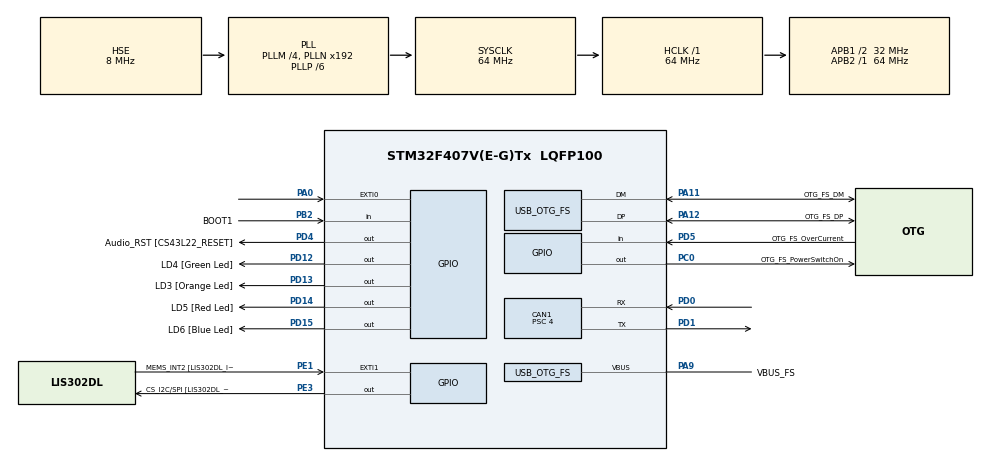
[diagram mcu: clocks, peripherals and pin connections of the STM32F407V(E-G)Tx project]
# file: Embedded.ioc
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CAN1.BS1=CAN_BS1_13TQ
CAN1.BS2=CAN_BS2_2TQ
CAN1.CalculateTimeQuantum=125.0
CAN1.Prescaler=4
Mcu.Family=STM32F4
Mcu.Name=STM32F407V(E-G)Tx
Mcu.Package=LQFP100
NVIC.CAN1_RX0_IRQn=true\:0\:0\:false\:false\:true\:true\:true
NVIC.CAN1_TX_IRQn=true\:0\:0\:false\:false\:true\:true\:true
NVIC.EXTI0_IRQn=true\:0\:0\:false\:false\:true\:true\:true
NVIC.OTG_FS_IRQn=true\:0\:0\:false\:false\:true\:true\:true
NVIC.PriorityGroup=NVIC_PRIORITYGROUP_0
PA0-WKUP.Signal=GPXTI0
PA10.GPIO_Label=OTG_FS_ID
PA10.GPIO_Mode=GPIO_MODE_AF_PP
PA10.GPIO_PuPd=GPIO_NOPULL
PA10.GPIO_Speed=GPIO_SPEED_FREQ_LOW
PA10.Signal=USB_OTG_FS_ID
PA11.GPIO_Label=OTG_FS_DM
PA11.GPIO_Mode=GPIO_MODE_AF_PP
PA11.GPIO_PuPd=GPIO_NOPULL
PA11.GPIO_Speed=GPIO_SPEED_FREQ_LOW
PA11.Mode=Device_Only
PA11.Signal=USB_OTG_FS_DM
PA12.GPIO_Label=OTG_FS_DP
PA12.GPIO_Mode=GPIO_MODE_AF_PP
PA12.GPIO_PuPd=GPIO_NOPULL
PA12.GPIO_Speed=GPIO_SPEED_FREQ_LOW
PA12.Mode=Device_Only
PA12.Signal=USB_OTG_FS_DP
PA13.GPIO_Label=SWDIO
PA13.Mode=Serial_Wire
PA13.Signal=SYS_JTMS-SWDIO
PA14.GPIO_Label=SWCLK
PA14.Mode=Serial_Wire
PA14.Signal=SYS_JTCK-SWCLK
PA4.GPIO_Label=I2S3_WS [CS43L22_LRCK]
PA4.GPIO_Mode=GPIO_MODE_AF_PP
PA4.GPIO_PuPd=GPIO_NOPULL
PA4.GPIO_Speed=GPIO_SPEED_FREQ_LOW
PA4.Signal=I2S3_WS
PA5.GPIO_Label=SPI1_SCK [LIS302DL_SCL/SPC]
PA5.GPIO_Mode=GPIO_MODE_AF_PP
PA5.GPIO_PuPd=GPIO_NOPULL
PA5.GPIO_Speed=GPIO_SPEED_FREQ_LOW
PA5.Signal=SPI1_SCK
PA6.GPIO_Label=SPI1_MISO [LIS302DL_SDO]
PA6.GPIO_Mode=GPIO_MODE_AF_PP
PA6.GPIO_PuPd=GPIO_NOPULL
PA6.GPIO_Speed=GPIO_SPEED_FREQ_LOW
PA6.Signal=SPI1_MISO
PA7.GPIO_Label=SPI1_MOSI [LIS302DL_SDA/SDI/SDO]
PA7.GPIO_Mode=GPIO_MODE_AF_PP
PA7.GPIO_PuPd=GPIO_NOPULL
PA7.GPIO_Speed=GPIO_SPEED_FREQ_LOW
PA7.Signal=SPI1_MOSI
PA9.GPIO_Label=VBUS_FS
PA9.GPIO_Mode=GPIO_MODE_INPUT
PA9.GPIO_PuPd=GPIO_NOPULL
PA9.Mode=Activate_VBUS
PA9.Signal=USB_OTG_FS_VBUS
PB10.GPIO_Label=CLK_IN [MP45DT02_CLK]
PB10.GPIO_Mode=GPIO_MODE_AF_PP
PB10.GPIO_PuPd=GPIO_NOPULL
PB10.GPIO_Speed=GPIO_SPEED_FREQ_LOW
PB10.Signal=I2S2_CK
PB2.GPIO_Label=BOOT1
PB2.GPIO_Mode=GPIO_MODE_INPUT
PB2.GPIO_PuPd=GPIO_NOPULL
PB2.Signal=GPIO_Input
PB3.GPIO_Label=SWO
PB3.Signal=SYS_JTDO-SWO
PB6.GPIO_Label=Audio_SCL [CS43L22_SCL]
PB6.GPIO_Mode=GPIO_MODE_AF_OD
PB6.GPIO_PuPd=GPIO_NOPULL
PB6.GPIO_Speed=GPIO_SPEED_FREQ_LOW
PB6.Signal=I2C1_SCL
PB9.GPIO_Label=Audio_SDA [CS43L22_SDA]
PB9.GPIO_Mode=GPIO_MODE_AF_OD
PB9.GPIO_PuPd=GPIO_NOPULL
PB9.GPIO_Speed=GPIO_SPEED_FREQ_LOW
PB9.Signal=I2C1_SDA
PC0.GPIO_Label=OTG_FS_PowerSwitchOn
PC0.GPIO_PuPd=GPIO_NOPULL
PC0.GPIO_Speed=GPIO_SPEED_FREQ_LOW
PC0.PinState=GPIO_PIN_SET
PC0.Signal=GPIO_Output
PC10.GPIO_Label=I2S3_SCK [CS43L22_SCLK]
PC10.GPIO_Mode=GPIO_MODE_AF_PP
PC10.GPIO_PuPd=GPIO_NOPULL
PC10.GPIO_Speed=GPIO_SPEED_FREQ_LOW
PC10.Signal=I2S3_CK
PC12.GPIO_Label=I2S3_SD [CS43L22_SDIN]
PC12.GPIO_Mode=GPIO_MODE_AF_PP
PC12.GPIO_PuPd=GPIO_NOPULL
PC12.GPIO_Speed=GPIO_SPEED_FREQ_LOW
PC12.Signal=I2S3_SD
PC14-OSC32_IN.GPIO_Label=PC14-OSC32_IN
PC14-OSC32_IN.Mode=LSE-External-Oscillator
PC14-OSC32_IN.Signal=RCC_OSC32_IN
PC15-OSC32_OUT.GPIO_Label=PC15-OSC32_OUT
PC15-OSC32_OUT.Mode=LSE-External-Oscillator
PC15-OSC32_OUT.Signal=RCC_OSC32_OUT
PC3.GPIO_Label=PDM_OUT [MP45DT02_DOUT]
PC3.GPIO_Mode=GPIO_MODE_AF_PP
PC3.GPIO_PuPd=GPIO_NOPULL
PC3.GPIO_Speed=GPIO_SPEED_FREQ_LOW
PC3.Signal=I2S2_SD
PC7.GPIO_Label=I2S3_MCK [CS43L22_MCLK]
PC7.GPIO_Mode=GPIO_MODE_AF_PP
PC7.GPIO_PuPd=GPIO_NOPULL
PC7.GPIO_Speed=GPIO_SPEED_FREQ_LOW
PC7.Signal=I2S3_MCK
PD0.Mode=Master
PD0.Signal=CAN1_RX
PD1.Mode=Master
PD1.Signal=CAN1_TX
PD12.GPIO_Label=LD4 [Green Led]
PD12.GPIO_PuPd=GPIO_NOPULL
PD12.GPIO_Speed=GPIO_SPEED_FREQ_LOW
PD12.Signal=GPIO_Output
PD13.GPIO_Label=LD3 [Orange Led]
PD13.GPIO_PuPd=GPIO_NOPULL
PD13.GPIO_Speed=GPIO_SPEED_FREQ_LOW
PD13.Signal=GPIO_Output
PD14.GPIO_Label=LD5 [Red Led]
PD14.GPIO_PuPd=GPIO_NOPULL
PD14.GPIO_Speed=GPIO_SPEED_FREQ_LOW
PD14.Signal=GPIO_Output
PD15.GPIO_Label=LD6 [Blue Led]
PD15.GPIO_PuPd=GPIO_NOPULL
PD15.GPIO_Speed=GPIO_SPEED_FREQ_LOW
PD15.Signal=GPIO_Output
PD4.GPIO_Label=Audio_RST [CS43L22_RESET]
PD4.GPIO_PuPd=GPIO_NOPULL
PD4.GPIO_Speed=GPIO_SPEED_FREQ_LOW
PD4.Signal=GPIO_Output
PD5.GPIO_Label=OTG_FS_OverCurrent
PD5.GPIO_Mode=GPIO_MODE_INPUT
PD5.GPIO_PuPd=GPIO_NOPULL
PD5.Signal=GPIO_Input
PE1.GPIO_Label=MEMS_INT2 [LIS302DL_INT2]
PE1.GPIO_ModeDefaultEXTI=GPIO_MODE_EVT_RISING
PE1.GPIO_PuPd=GPIO_NOPULL
PE1.Signal=GPXTI1
PE3.GPIO_Label=CS_I2C/SPI [LIS302DL_CS_I2C/SPI]
PE3.GPIO_PuPd=GPIO_NOPULL
PE3.GPIO_Speed=GPIO_SPEED_FREQ_LOW
PE3.Signal=GPIO_Output
PH0-OSC_IN.GPIO_Label=PH0-OSC_IN
PH0-OSC_IN.Mode=HSE-External-Oscillator
PH0-OSC_IN.Signal=RCC_OSC_IN
PH1-OSC_OUT.GPIO_Label=PH1-OSC_OUT
PH1-OSC_OUT.Mode=HSE-External-Oscillator
PH1-OSC_OUT.Signal=RCC_OSC_OUT
ProjectManager.HeapSize=0x200
ProjectManager.StackSize=0x400
ProjectManager.TargetToolchain=SW4STM32
RCC.48MHZClocksFreq_Value=48000000
RCC.AHBFreq_Value=64000000
RCC.APB1CLKDivider=RCC_HCLK_DIV2
RCC.APB1Freq_Value=32000000
RCC.APB1TimFreq_Value=64000000
RCC.APB2Freq_Value=64000000
RCC.APB2TimFreq_Value=64000000
RCC.CortexFreq_Value=64000000
RCC.HCLKFreq_Value=64000000
RCC.HSE_VALUE=8000000
RCC.HSI_VALUE=16000000
RCC.PLLI2SN=50
RCC.PLLM=4
RCC.PLLP=RCC_PLLP_DIV6
RCC.PLLQ=8
RCC.SYSCLKFreq_VALUE=64000000
RCC.SYSCLKSource=RCC_SYSCLKSOURCE_PLLCLK
RCC.VCOOutputFreq_Value=384000000
USB_DEVICE.CLASS_NAME_FS=CDC
USB_DEVICE.MANUFACTURER_STRING-CDC_FS=LibreTuner
USB_DEVICE.PRODUCT_STRING_CDC_FS=LibreTuner Metal
USB_DEVICE.VirtualMode-CDC_FS=Cdc
USB_DEVICE.VirtualModeFS=Cdc_FS
USB_OTG_FS.VirtualMode=Device_Only
VP_USB_DEVICE_VS_USB_DEVICE_CDC_FS.Mode=CDC_FS
board=STM32F407G-DISC1

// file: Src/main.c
/* USER CODE BEGIN Header */
/**
 ******************************************************************************
 * @file           : main.c
 * @brief          : Main program body
 ******************************************************************************
 * @attention
 *
 * <h2><center>&copy; Copyright (c) 2019 STMicroelectronics.
 * All rights reserved.</center></h2>
 *
 * This software component is licensed by ST under Ultimate Liberty license
 * SLA0044, the "License"; You may not use this file except in compliance with
 * the License. You may obtain a copy of the License at:
 *                             www.st.com/SLA0044
 *
 ******************************************************************************
 */
/* USER CODE END Header */

#include "main.h"
#include "usb_device.h"

CAN_HandleTypeDef hcan1;

void SystemClock_Config(void);
static void MX_GPIO_Init(void);
static void MX_CAN1_Init(void);

int main(void)
{

  /* MCU Configuration--------------------------------------------------------*/

  /* Reset of all peripherals, Initializes the Flash interface and the Systick. */
  HAL_Init();

  /* Configure the system clock */
  SystemClock_Config();

  /* Initialize all configured peripherals */
  MX_GPIO_Init();
  MX_USB_DEVICE_Init();
  MX_CAN1_Init();
  /* USER CODE BEGIN 2 */

  CAN_FilterTypeDef filter;
  filter.FilterBank = 0;
  filter.FilterMode = CAN_FILTERMODE_IDMASK;
  filter.FilterScale = CAN_FILTERSCALE_32BIT;
  filter.FilterIdHigh = 0x0000;
  filter.FilterIdLow = 0x0000;
  filter.FilterMaskIdHigh = 0x0000;
  filter.FilterMaskIdLow = 0x0000;
  filter.FilterFIFOAssignment = CAN_RX_FIFO0;
  filter.FilterActivation = ENABLE;
  filter.SlaveStartFilterBank = 14;
  if (HAL_CAN_ConfigFilter(&hcan1, &filter) != HAL_OK) {
    HAL_GPIO_WritePin(LD3_GPIO_Port, LD3_Pin, GPIO_PIN_SET);
  }

  if (HAL_CAN_Start(&hcan1) != HAL_OK) {
    HAL_GPIO_WritePin(LD3_GPIO_Port, LD3_Pin, GPIO_PIN_SET);
  }

  if (HAL_CAN_ActivateNotification(&hcan1, CAN_IT_RX_FIFO0_MSG_PENDING) !=
      HAL_OK) {
    HAL_GPIO_WritePin(LD3_GPIO_Port, LD3_Pin, GPIO_PIN_SET);
  }

  /* USER CODE END 2 */

  /* Infinite loop */
  while (1) {

  }
}

void SystemClock_Config(void)
{
  RCC_OscInitTypeDef RCC_OscInitStruct = {0};
  RCC_ClkInitTypeDef RCC_ClkInitStruct = {0};

  /** Configure the main internal regulator output voltage
  */
  __HAL_RCC_PWR_CLK_ENABLE();
  __HAL_PWR_VOLTAGESCALING_CONFIG(PWR_REGULATOR_VOLTAGE_SCALE1);
  /** Initializes the CPU, AHB and APB busses clocks
  */
  RCC_OscInitStruct.OscillatorType = RCC_OSCILLATORTYPE_HSE;
  RCC_OscInitStruct.HSEState = RCC_HSE_ON;
  RCC_OscInitStruct.PLL.PLLState = RCC_PLL_ON;
  RCC_OscInitStruct.PLL.PLLSource = RCC_PLLSOURCE_HSE;
  RCC_OscInitStruct.PLL.PLLM = 4;
  RCC_OscInitStruct.PLL.PLLN = 192;
  RCC_OscInitStruct.PLL.PLLP = RCC_PLLP_DIV6;
  RCC_OscInitStruct.PLL.PLLQ = 8;
  if (HAL_RCC_OscConfig(&RCC_OscInitStruct) != HAL_OK)
  {
    Error_Handler();
  }
  /** Initializes the CPU, AHB and APB busses clocks
  */
  RCC_ClkInitStruct.ClockType = RCC_CLOCKTYPE_HCLK|RCC_CLOCKTYPE_SYSCLK
                              |RCC_CLOCKTYPE_PCLK1|RCC_CLOCKTYPE_PCLK2;
  RCC_ClkInitStruct.SYSCLKSource = RCC_SYSCLKSOURCE_PLLCLK;
  RCC_ClkInitStruct.AHBCLKDivider = RCC_SYSCLK_DIV1;
  RCC_ClkInitStruct.APB1CLKDivider = RCC_HCLK_DIV2;
  RCC_ClkInitStruct.APB2CLKDivider = RCC_HCLK_DIV1;

  if (HAL_RCC_ClockConfig(&RCC_ClkInitStruct, FLASH_LATENCY_2) != HAL_OK)
  {
    Error_Handler();
  }
}

static void MX_CAN1_Init(void)
{

  hcan1.Instance = CAN1;
  hcan1.Init.Prescaler = 4;
  hcan1.Init.Mode = CAN_MODE_NORMAL;
  hcan1.Init.SyncJumpWidth = CAN_SJW_1TQ;
  hcan1.Init.TimeSeg1 = CAN_BS1_13TQ;
  hcan1.Init.TimeSeg2 = CAN_BS2_2TQ;
  hcan1.Init.TimeTriggeredMode = DISABLE;
  hcan1.Init.AutoBusOff = DISABLE;
  hcan1.Init.AutoWakeUp = DISABLE;
  hcan1.Init.AutoRetransmission = DISABLE;
  hcan1.Init.ReceiveFifoLocked = DISABLE;
  hcan1.Init.TransmitFifoPriority = DISABLE;
  if (HAL_CAN_Init(&hcan1) != HAL_OK)
  {
    Error_Handler();
  }

}

static void MX_GPIO_Init(void)
{
  GPIO_InitTypeDef GPIO_InitStruct = {0};

  /* GPIO Ports Clock Enable */
  __HAL_RCC_GPIOE_CLK_ENABLE();
  __HAL_RCC_GPIOC_CLK_ENABLE();
  __HAL_RCC_GPIOH_CLK_ENABLE();
  __HAL_RCC_GPIOA_CLK_ENABLE();
  __HAL_RCC_GPIOB_CLK_ENABLE();
  __HAL_RCC_GPIOD_CLK_ENABLE();

  /*Configure GPIO pin Output Level */
  HAL_GPIO_WritePin(CS_I2C_SPI_GPIO_Port, CS_I2C_SPI_Pin, GPIO_PIN_RESET);

  /*Configure GPIO pin Output Level */
  HAL_GPIO_WritePin(OTG_FS_PowerSwitchOn_GPIO_Port, OTG_FS_PowerSwitchOn_Pin, GPIO_PIN_SET);

  /*Configure GPIO pin Output Level */
  HAL_GPIO_WritePin(GPIOD, LD4_Pin|LD3_Pin|LD5_Pin|LD6_Pin
                          |Audio_RST_Pin, GPIO_PIN_RESET);

  /*Configure GPIO pin : CS_I2C_SPI_Pin */
  GPIO_InitStruct.Pin = CS_I2C_SPI_Pin;
  GPIO_InitStruct.Mode = GPIO_MODE_OUTPUT_PP;
  GPIO_InitStruct.Pull = GPIO_NOPULL;
  GPIO_InitStruct.Speed = GPIO_SPEED_FREQ_LOW;
  HAL_GPIO_Init(CS_I2C_SPI_GPIO_Port, &GPIO_InitStruct);

  /*Configure GPIO pin : OTG_FS_PowerSwitchOn_Pin */
  GPIO_InitStruct.Pin = OTG_FS_PowerSwitchOn_Pin;
  GPIO_InitStruct.Mode = GPIO_MODE_OUTPUT_PP;
  GPIO_InitStruct.Pull = GPIO_NOPULL;
  GPIO_InitStruct.Speed = GPIO_SPEED_FREQ_LOW;
  HAL_GPIO_Init(OTG_FS_PowerSwitchOn_GPIO_Port, &GPIO_InitStruct);

  /*Configure GPIO pin : PDM_OUT_Pin */
  GPIO_InitStruct.Pin = PDM_OUT_Pin;
  GPIO_InitStruct.Mode = GPIO_MODE_AF_PP;
  GPIO_InitStruct.Pull = GPIO_NOPULL;
  GPIO_InitStruct.Speed = GPIO_SPEED_FREQ_LOW;
  GPIO_InitStruct.Alternate = GPIO_AF5_SPI2;
  HAL_GPIO_Init(PDM_OUT_GPIO_Port, &GPIO_InitStruct);

  /*Configure GPIO pin : PA0 */
  GPIO_InitStruct.Pin = GPIO_PIN_0;
  GPIO_InitStruct.Mode = GPIO_MODE_IT_RISING;
  GPIO_InitStruct.Pull = GPIO_NOPULL;
  HAL_GPIO_Init(GPIOA, &GPIO_InitStruct);

  /*Configure GPIO pin : I2S3_WS_Pin */
  GPIO_InitStruct.Pin = I2S3_WS_Pin;
  GPIO_InitStruct.Mode = GPIO_MODE_AF_PP;
  GPIO_InitStruct.Pull = GPIO_NOPULL;
  GPIO_InitStruct.Speed = GPIO_SPEED_FREQ_LOW;
  GPIO_InitStruct.Alternate = GPIO_AF6_SPI3;
  HAL_GPIO_Init(I2S3_WS_GPIO_Port, &GPIO_InitStruct);

  /*Configure GPIO pins : SPI1_SCK_Pin SPI1_MISO_Pin SPI1_MOSI_Pin */
  GPIO_InitStruct.Pin = SPI1_SCK_Pin|SPI1_MISO_Pin|SPI1_MOSI_Pin;
  GPIO_InitStruct.Mode = GPIO_MODE_AF_PP;
  GPIO_InitStruct.Pull = GPIO_NOPULL;
  GPIO_InitStruct.Speed = GPIO_SPEED_FREQ_LOW;
  GPIO_InitStruct.Alternate = GPIO_AF5_SPI1;
  HAL_GPIO_Init(GPIOA, &GPIO_InitStruct);

  /*Configure GPIO pin : BOOT1_Pin */
  GPIO_InitStruct.Pin = BOOT1_Pin;
  GPIO_InitStruct.Mode = GPIO_MODE_INPUT;
  GPIO_InitStruct.Pull = GPIO_NOPULL;
  HAL_GPIO_Init(BOOT1_GPIO_Port, &GPIO_InitStruct);

  /*Configure GPIO pin : CLK_IN_Pin */
  GPIO_InitStruct.Pin = CLK_IN_Pin;
  GPIO_InitStruct.Mode = GPIO_MODE_AF_PP;
  GPIO_InitStruct.Pull = GPIO_NOPULL;
  GPIO_InitStruct.Speed = GPIO_SPEED_FREQ_LOW;
  GPIO_InitStruct.Alternate = GPIO_AF5_SPI2;
  HAL_GPIO_Init(CLK_IN_GPIO_Port, &GPIO_InitStruct);

  /*Configure GPIO pins : LD4_Pin LD3_Pin LD5_Pin LD6_Pin
                           Audio_RST_Pin */
  GPIO_InitStruct.Pin = LD4_Pin|LD3_Pin|LD5_Pin|LD6_Pin
                          |Audio_RST_Pin;
  GPIO_InitStruct.Mode = GPIO_MODE_OUTPUT_PP;
  GPIO_InitStruct.Pull = GPIO_NOPULL;
  GPIO_InitStruct.Speed = GPIO_SPEED_FREQ_LOW;
  HAL_GPIO_Init(GPIOD, &GPIO_InitStruct);

  /*Configure GPIO pins : I2S3_MCK_Pin I2S3_SCK_Pin I2S3_SD_Pin */
  GPIO_InitStruct.Pin = I2S3_MCK_Pin|I2S3_SCK_Pin|I2S3_SD_Pin;
  GPIO_InitStruct.Mode = GPIO_MODE_AF_PP;
  GPIO_InitStruct.Pull = GPIO_NOPULL;
  GPIO_InitStruct.Speed = GPIO_SPEED_FREQ_LOW;
  GPIO_InitStruct.Alternate = GPIO_AF6_SPI3;
  HAL_GPIO_Init(GPIOC, &GPIO_InitStruct);

  /*Configure GPIO pin : OTG_FS_OverCurrent_Pin */
  GPIO_InitStruct.Pin = OTG_FS_OverCurrent_Pin;
  GPIO_InitStruct.Mode = GPIO_MODE_INPUT;
  GPIO_InitStruct.Pull = GPIO_NOPULL;
  HAL_GPIO_Init(OTG_FS_OverCurrent_GPIO_Port, &GPIO_InitStruct);

  /*Configure GPIO pins : Audio_SCL_Pin Audio_SDA_Pin */
  GPIO_InitStruct.Pin = Audio_SCL_Pin|Audio_SDA_Pin;
  GPIO_InitStruct.Mode = GPIO_MODE_AF_OD;
  GPIO_InitStruct.Pull = GPIO_PULLUP;
  GPIO_InitStruct.Speed = GPIO_SPEED_FREQ_LOW;
  GPIO_InitStruct.Alternate = GPIO_AF4_I2C1;
  HAL_GPIO_Init(GPIOB, &GPIO_InitStruct);

  /*Configure GPIO pin : MEMS_INT2_Pin */
  GPIO_InitStruct.Pin = MEMS_INT2_Pin;
  GPIO_InitStruct.Mode = GPIO_MODE_EVT_RISING;
  GPIO_InitStruct.Pull = GPIO_NOPULL;
  HAL_GPIO_Init(MEMS_INT2_GPIO_Port, &GPIO_InitStruct);

  /* EXTI interrupt init*/
  HAL_NVIC_SetPriority(EXTI0_IRQn, 0, 0);
  HAL_NVIC_EnableIRQ(EXTI0_IRQn);

}

/* USER CODE BEGIN 4 */

char to_hex(uint8_t v)
{
  if (v < 0xA)
  {
    return '0' + v;
  }
  return 'A' + (v - 0xA);
}

void HAL_CAN_RxFifo0MsgPendingCallback(CAN_HandleTypeDef *hcan) {
  HAL_GPIO_WritePin(LD6_GPIO_Port, LD6_Pin, GPIO_PIN_SET);

  CAN_RxHeaderTypeDef header;
  uint8_t data[8];
  if (HAL_CAN_GetRxMessage(&hcan1, CAN_RX_FIFO0, &header, data) == HAL_OK) {
    CAN_TxHeaderTypeDef txHeader;
    txHeader.StdId = header.StdId + 0x40;
    txHeader.ExtId = header.ExtId;
    txHeader.IDE = header.IDE;
    txHeader.RTR = CAN_RTR_DATA;
    txHeader.DLC = header.DLC;
    txHeader.TransmitGlobalTime = DISABLE;

    uint32_t mailbox;
    if (HAL_CAN_AddTxMessage(&hcan1, &txHeader, data, &mailbox) != HAL_OK)
      HAL_GPIO_WritePin(LD3_GPIO_Port, LD3_Pin, GPIO_PIN_SET);

    // Convert to hex

    char converted[64];
    int count = sprintf(converted, "[%lX] ", header.StdId);
    char * pos = converted + count;
    for (int i = 0; i < header.DLC; ++i)
    {
      uint8_t v = data[i];
      *pos++ = to_hex(v & 0xFU);
      *pos++ = to_hex(v >> 4U);
      if (i != header.DLC)
        *pos++ = ' ';
    }
    *pos++ = '\r';
    *pos++ = '\n';

    CDC_Transmit_FS((uint8_t*)converted, pos - converted);
  }
}

/* USER CODE END 4 */

void Error_Handler(void)
{
}

#ifdef  USE_FULL_ASSERT
/**
  * @brief  Reports the name of the source file and the source line number
  *         where the assert_param error has occurred.
  * @param  file: pointer to the source file name
  * @param  line: assert_param error line source number
  * @retval None
  */
void assert_failed(uint8_t *file, uint32_t line)
{
  /* USER CODE BEGIN 6 */
  /* User can add his own implementation to report the file name and line
     number,
     tex: printf("Wrong parameters value: file %s on line %d\r\n", file, line)
   */
  /* USER CODE END 6 */
}
#endif /* USE_FULL_ASSERT */

/************************ (C) COPYRIGHT STMicroelectronics *****END OF FILE****/
